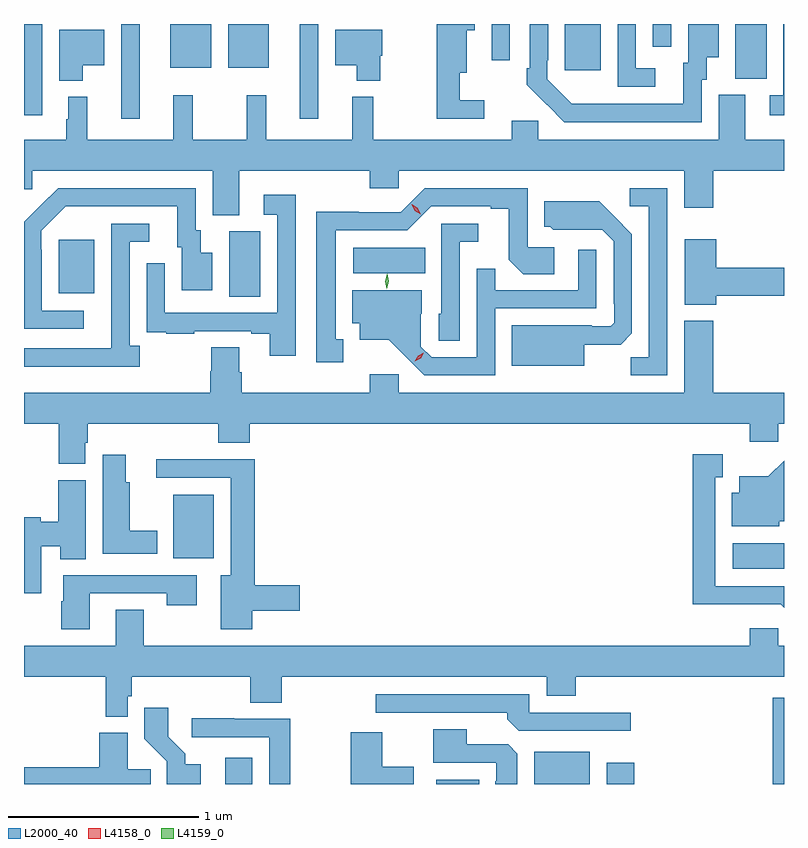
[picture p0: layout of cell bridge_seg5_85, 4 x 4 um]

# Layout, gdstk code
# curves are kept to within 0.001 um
import gdstk
lib = gdstk.Library(unit=1e-6, precision=1e-09)
def R(c, l, rs):  # rectangles x0, y0, x1, y1
    for r in rs: c.add(gdstk.rectangle(r[:2], r[2:], *l))
def P(c, l, *ps):  # polygons
    for p in ps: c.add(gdstk.Polygon(p, *l))
L2000_40 = (2000, 40)
L4158_0 = (4158, 0)
L4159_0 = (4159, 0)

bridge_seg5_85 = lib.new_cell('bridge_seg5_85')
R(bridge_seg5_85, L2000_40, [(123.827,890.828,123.97,890.965), (124.937,890.828,125.164,890.851), (125.453,890.828,125.746,890.998), (125.834,890.828,125.981,890.941), (126.709,890.828,126.768,891.282), (126.498,891.962,126.768,892.096), (123.554,892.016,123.766,892.351), (123.848,893.392,124.012,893.736), (122.951,893.411,123.139,893.692), (124.5,893.516,124.88,893.65), (123.279,894.33,123.376,894.828), (124.22,894.33,124.317,894.828), (126.512,894.541,126.676,894.828), (125.615,894.585,125.803,894.828), (123.539,894.599,123.754,894.828), (123.842,894.599,124.057,894.828), (125.229,894.636,125.325,894.828), (126.078,894.708,126.174,894.828)])
P(bridge_seg5_85, L2000_40, [(122.865,894.828),(122.769,894.828),(122.769,894.453),(122.768,894.453),(122.768,894.348),(122.865,894.348)],
  [(126.336,894.534),(126.361,894.534),(126.361,894.653),(126.424,894.653),(126.424,894.828),(126.263,894.828),(126.263,894.624),(126.239,894.624),(126.239,894.408),(125.652,894.409),(125.523,894.537),(125.523,894.637),(125.526,894.637),(125.526,894.828),(125.43,894.828),(125.43,894.595),(125.415,894.595),(125.415,894.507),(125.612,894.312),(126.336,894.312)],
  [(126.768,894.828),(126.765,894.828),(126.765,894.453),(126.693,894.453),(126.693,894.348),(126.768,894.348)],
  [(125.191,894.427),(125.062,894.427),(125.062,894.572),(125.098,894.572),(125.098,894.794),(125.14,894.794),(125.14,894.828),(124.94,894.828),(124.94,894.33),(125.191,894.33)],
  [(126.091,894.594),(125.988,894.594),(125.988,894.828),(125.892,894.828),(125.892,894.498),(126.091,894.498)],
  [(124.642,894.66),(124.654,894.66),(124.654,894.799),(124.406,894.799),(124.406,894.611),(124.52,894.611),(124.52,894.53),(124.642,894.53)],
  [(123.076,894.611),(123.19,894.611),(123.19,894.799),(122.954,894.799),(122.954,894.53),(123.076,894.53)],
  [(123.901,894.056),(124.589,894.056),(124.589,893.963),(124.74,893.963),(124.74,894.056),(126.242,894.056),(126.242,893.862),(126.395,893.862),(126.395,894.056),(126.768,894.056),(126.768,894.22),(126.565,894.22),(126.565,894.456),(126.425,894.456),(126.425,894.22),(125.475,894.22),(125.475,894.318),(125.336,894.318),(125.336,894.22),(124.606,894.22),(124.606,894.445),(124.496,894.445),(124.496,894.22),(124.043,894.22),(124.043,894.454),(123.94,894.454),(123.94,894.22),(123.656,894.22),(123.656,894.454),(123.554,894.454),(123.554,894.22),(123.101,894.22),(123.101,894.445),(123.002,894.445),(123.002,894.327),(122.991,894.327),(122.991,894.22),(122.768,894.22),(122.768,893.958),(122.811,893.958),(122.811,894.056),(123.761,894.056),(123.761,893.821),(123.901,893.821)],
  [(124.447,893.169),(124.408,893.169),(124.408,893.742),(124.785,893.742),(124.911,893.868),(125.225,893.868),(125.225,893.856),(125.319,893.856),(125.319,893.588),(125.395,893.512),(125.56,893.512),(125.56,893.652),(125.418,893.652),(125.418,893.964),(124.878,893.964),(124.752,893.838),(124.53,893.838),(124.53,893.84),(124.307,893.84),(124.307,893.049),(124.447,893.049)],
  [(126.153,893.964),(125.955,893.964),(125.955,893.868),(126.057,893.868),(126.057,893.075),(125.962,893.075),(125.962,892.98),(126.153,892.98)],
  [(123.082,893.319),(122.862,893.319),(122.862,893.639),(122.859,893.639),(122.859,893.739),(122.988,893.868),(123.575,893.868),(123.575,893.652),(123.599,893.652),(123.599,893.427),(123.76,893.427),(123.76,893.623),(123.697,893.623),(123.697,893.742),(123.672,893.742),(123.672,893.964),(122.948,893.964),(122.768,893.786),(122.768,893.223),(123.082,893.223)],
  [(124.197,893.929),(124.029,893.929),(124.029,893.823),(124.101,893.823),(124.101,893.307),(123.51,893.307),(123.51,893.569),(123.414,893.569),(123.414,893.314),(123.415,893.314),(123.415,893.205),(123.517,893.205),(123.517,893.199),(123.665,893.199),(123.665,893.211),(123.965,893.211),(123.965,893.199),(124.061,893.199),(124.061,893.082),(124.197,893.082)],
  [(125.716,893.141),(125.908,893.141),(125.967,893.2),(125.967,893.722),(125.795,893.896),(125.507,893.896),(125.507,893.76),(125.538,893.76),(125.554,893.744),(125.811,893.745),(125.871,893.685),(125.871,893.356),(125.874,893.356),(125.874,893.256),(125.856,893.238),(125.756,893.238),(125.756,893.242),(125.336,893.242),(125.336,893.03),(125.716,893.03)],
  [(125.061,893.681),(125.158,893.681),(125.158,893.778),(124.965,893.778),(124.965,893.304),(124.95,893.304),(124.95,893.161),(125.061,893.161)],
  [(123.376,893.134),(123.324,893.134),(123.324,893.682),(123.427,893.682),(123.427,893.778),(123.228,893.778),(123.228,893.121),(122.768,893.121),(122.768,893.024),(123.376,893.024)],
  [(126.412,893.399),(126.768,893.399),(126.768,893.546),(126.412,893.546),(126.412,893.695),(126.245,893.695),(126.245,893.351),(126.412,893.351)],
  [(125.247,893.331),(125.781,893.331),(125.781,893.641),(125.685,893.641),(125.685,893.427),(125.249,893.427),(125.249,893.54),(125.151,893.54),(125.151,893.073),(124.914,893.073),(124.857,893.13),(124.857,893.304),(124.861,893.304),(124.861,893.428),(124.496,893.428),(124.496,893.252),(124.535,893.252),(124.535,893.165),(124.687,893.165),(124.874,892.98),(125.247,892.98)],
  [(123.091,892.623),(123.104,892.623),(123.104,892.724),(123.791,892.724),(123.791,892.625),(123.956,892.625),(123.956,892.724),(126.587,892.724),(126.587,892.629),(126.738,892.629),(126.738,892.724),(126.768,892.724),(126.768,892.888),(126.395,892.888),(126.395,893.266),(126.242,893.266),(126.242,892.888),(124.74,892.888),(124.74,892.984),(124.589,892.984),(124.589,892.888),(123.914,892.888),(123.914,892.994),(123.901,892.994),(123.901,893.126),(123.754,893.126),(123.754,893.001),(123.749,893.001),(123.749,892.888),(122.768,892.888),(122.768,892.724),(122.951,892.724),(122.951,892.513),(123.091,892.513)],
  [(126.768,891.87),(126.406,891.87),(126.406,892.443),(126.445,892.443),(126.445,892.564),(126.288,892.564),(126.288,891.773),(126.528,891.773),(126.528,891.774),(126.75,891.774),(126.768,891.756)],
  [(123.469,892.162),(123.325,892.162),(123.325,892.416),(123.304,892.416),(123.304,892.561),(123.182,892.561),(123.182,892.04),(123.469,892.04)],
  [(123.97,891.74),(124.219,891.74),(124.219,891.875),(123.983,891.875),(123.983,892.538),(123.465,892.538),(123.465,892.44),(123.857,892.44),(123.857,891.928),(123.803,891.928),(123.803,891.642),(123.97,891.642)],
  [(126.744,892.211),(126.768,892.211),(126.768,892.529),(126.685,892.447),(126.533,892.447),(126.533,892.36),(126.494,892.36),(126.494,892.184),(126.744,892.184)],
  [(122.86,892.079),(122.96,892.079),(122.96,892.012),(123.094,892.012),(123.094,892.428),(122.948,892.428),(122.948,892.209),(122.856,892.209),(122.856,892.232),(122.768,892.232),(122.768,891.831),(122.86,891.831)],
  [(123.115,891.831),(123.52,891.831),(123.52,891.768),(123.676,891.768),(123.676,891.927),(122.975,891.927),(122.975,891.789),(122.963,891.789),(122.963,891.642),(123.115,891.642)],
  [(123.315,891.291),(123.335,891.291),(123.335,891.392),(123.959,891.392),(123.959,891.256),(124.124,891.256),(124.124,891.392),(125.519,891.392),(125.519,891.293),(125.672,891.293),(125.672,891.392),(126.768,891.392),(126.768,891.556),(126.738,891.556),(126.738,891.649),(126.587,891.649),(126.587,891.556),(123.399,891.556),(123.399,891.746),(123.251,891.746),(123.251,891.556),(122.768,891.556),(122.768,891.392),(123.199,891.392),(123.199,891.182),(123.315,891.182)],
  [(125.962,891.204),(125.427,891.204),(125.427,891.3),(124.62,891.3),(124.62,891.204),(125.312,891.204),(125.312,891.17),(125.373,891.108),(125.962,891.108)],
  [(123.697,890.932),(123.616,890.932),(123.616,890.987),(123.526,891.077),(123.526,891.229),(123.4,891.229),(123.4,891.066),(123.519,890.947),(123.519,890.828),(123.697,890.828)],
  [(124.168,891.171),(123.875,891.171),(123.875,891.174),(123.651,891.174),(123.651,891.075),(124.059,891.075),(124.059,890.828),(124.168,890.828)],
  [(125.365,890.987),(125.316,891.036),(125.098,891.036),(125.098,891.115),(124.922,891.115),(124.922,890.94),(125.253,890.94),(125.253,890.843),(125.249,890.843),(125.249,890.828),(125.365,890.828)],
  [(124.819,890.92),(124.654,890.92),(124.654,891.1),(124.489,891.1),(124.489,890.828),(124.819,890.828)],
  [(123.434,890.906),(123.313,890.906),(123.313,891.097),(123.164,891.097),(123.164,890.916),(122.768,890.916),(122.768,890.828),(123.434,890.828)])
P(bridge_seg5_85, L4158_0, [(124.825,893.053),(124.825,893.053),(124.842,893.082),(124.872,893.098),(124.873,893.098),(124.873,893.098),(124.856,893.068),(124.825,893.053)],
  [(124.856,893.826),(124.824,893.846),(124.808,893.879),(124.808,893.879),(124.808,893.879),(124.839,893.86),(124.856,893.827),(124.856,893.826)])
P(bridge_seg5_85, L4159_0, [(124.678,893.435),(124.678,893.435),(124.669,893.474),(124.679,893.513),(124.679,893.513),(124.679,893.513),(124.689,893.474),(124.678,893.435)])

lib.write_gds('bridge_seg5_85.gds')
